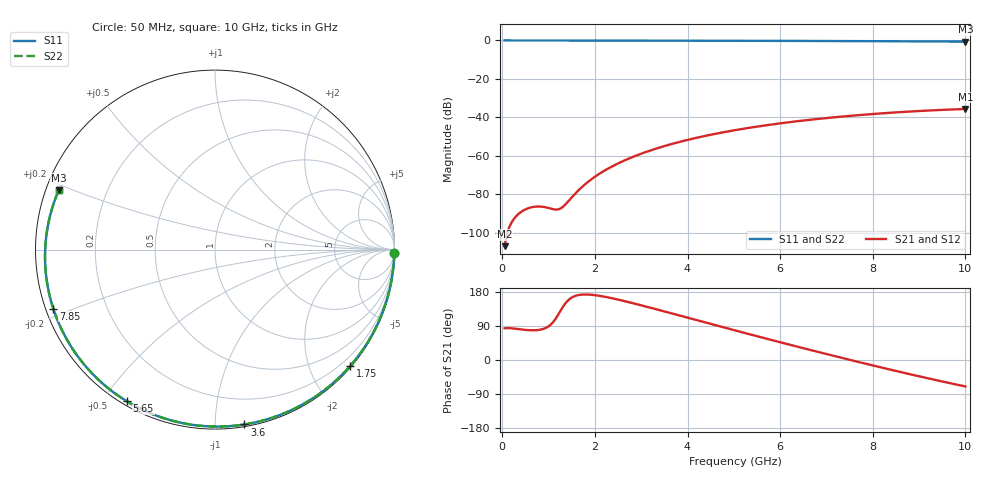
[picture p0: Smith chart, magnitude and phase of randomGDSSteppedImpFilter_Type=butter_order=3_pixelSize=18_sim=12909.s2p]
! freq	dB(S11)	phase(S11)	dB(S12)	phase(S12)
!  dB(S21)	phase(S21)	dB(S22)	phase(S22)
!S-par simulation data
#  GHz  S  DB  R 50
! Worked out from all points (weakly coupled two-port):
!   200 points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, 50 MHz to 10 GHz, reference 50 ohm
!   highest |S21| = -35.67 dB at 10 GHz (marker M1); lowest = -107.1 dB at 50 MHz (marker M2)
!   lowest |S11| = -0.6 dB at 10 GHz (marker M3), VSWR 28.15, Z = 1.84 + j9.18 ohm
!   |S11| at or under -10 dB: nowhere
!   |S22| runs from -0.6 to 0.0 dB; largest |S21 - S12| = 0
!   S11 on the Smith chart (normalised r, x): 50 MHz: open; 1.75 GHz: 0.02, -2.70; 3.6 GHz: 0.01, -1.18; 5.65 GHz: 0.02, -0.58; 7.85 GHz: 0.02, -0.18; 10 GHz: 0.04, +0.18
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0.05  -0.00 -1.1  -107.11 83.6  -107.11 83.6  -0.00 -1.1
0.45  -0.02 -10.6  -88.60 80.0  -88.60 80.0  -0.02 -10.6
0.8  -0.02 -18.9  -86.45 79.6  -86.45 79.6  -0.02 -18.8
1.55  -0.05 -36.2  -80.40 167.8  -80.40 167.8  -0.05 -36.2
1.6  -0.05 -37.3  -79.13 170.0  -79.13 170.0  -0.05 -37.3
1.75  -0.05 -40.7  -75.67 172.8  -75.67 172.8  -0.05 -40.7
2.05  -0.06 -47.4  -70.14 170.3  -70.14 170.3  -0.06 -47.4
2.25  -0.07 -51.8  -67.17 166.0  -67.17 166.0  -0.07 -51.8
2.45  -0.07 -56.2  -64.61 160.8  -64.61 160.8  -0.07 -56.2
2.9  -0.08 -65.9  -59.86 147.5  -59.86 147.5  -0.08 -65.9
3.4  -0.10 -76.4  -55.72 131.5  -55.72 131.5  -0.10 -76.3
3.6  -0.11 -80.5  -54.30 124.9  -54.30 124.9  -0.11 -80.5
4.3  -0.13 -94.5  -50.11 101.9  -50.11 101.9  -0.13 -94.5
5.05  -0.16 -108.9  -46.61 77.3  -46.61 77.3  -0.16 -108.9
5.65  -0.20 -120.1  -44.33 58.0  -44.33 58.0  -0.20 -120.1
6.2  -0.23 -130.2  -42.56 40.5  -42.56 40.5  -0.23 -130.1
6.7  -0.27 -139.2  -41.16 24.9  -41.16 24.9  -0.26 -139.2
7.3  -0.31 -150.0  -39.71 6.5  -39.71 6.5  -0.31 -150.0
7.85  -0.36 -160.0  -38.57 -9.9  -38.57 -9.9  -0.36 -159.9
8.35  -0.41 -169.1  -37.69 -24.6  -37.69 -24.6  -0.41 -169.0
9.2  -0.51 175.0  -36.48 -48.6  -36.48 -48.6  -0.51 175.1
10  -0.62 159.2  -35.67 -69.8  -35.67 -69.8  -0.62 159.3
